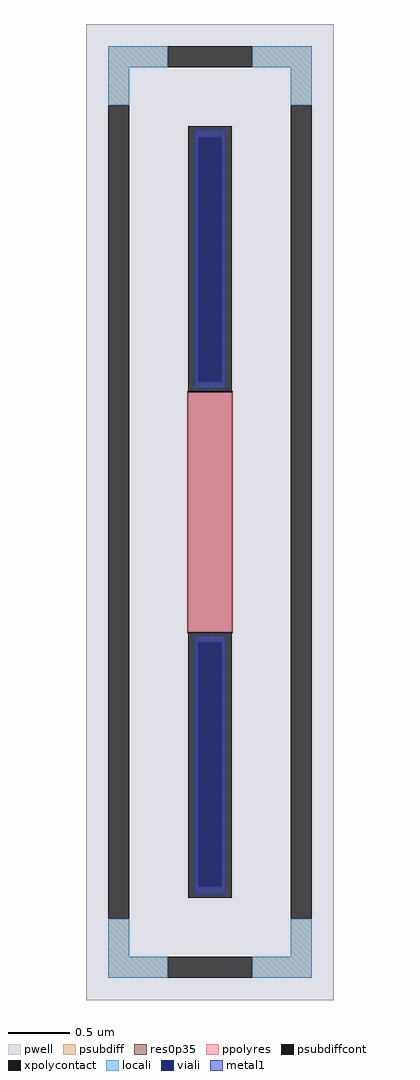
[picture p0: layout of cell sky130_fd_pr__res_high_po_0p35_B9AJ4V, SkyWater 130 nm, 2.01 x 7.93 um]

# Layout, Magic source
magic
tech sky130A
magscale 1 2
<< pwell >>
rect -201 -793 201 793
<< psubdiff >>
rect -165 723 -69 757
rect 69 723 165 757
rect -165 661 -131 723
rect 131 661 165 723
rect -165 -723 -131 -661
rect 131 -723 165 -661
rect -165 -757 -69 -723
rect 69 -757 165 -723
<< psubdiffcont >>
rect -69 723 69 757
rect -165 -661 -131 661
rect 131 -661 165 661
rect -69 -757 69 -723
<< xpolycontact >>
rect -35 195 35 627
rect -35 -627 35 -195
<< ppolyres >>
rect -35 -195 35 195
<< locali >>
rect -165 723 -69 757
rect 69 723 165 757
rect -165 661 -131 723
rect 131 661 165 723
rect -165 -723 -131 -661
rect 131 -723 165 -661
rect -165 -757 -69 -723
rect 69 -757 165 -723
<< viali >>
rect -19 212 19 609
rect -19 -609 19 -212
<< metal1 >>
rect -25 609 25 621
rect -25 212 -19 609
rect 19 212 25 609
rect -25 200 25 212
rect -25 -212 25 -200
rect -25 -609 -19 -212
rect 19 -609 25 -212
rect -25 -621 25 -609
<< res0p35 >>
rect -37 -197 37 197
<< properties >>
string FIXED_BBOX -148 -740 148 740
string gencell sky130_fd_pr__res_high_po_0p35
string library sky130
string parameters w 0.350 l 1.95 m 1 nx 1 wmin 0.350 lmin 0.50 rho 319.8 val 2.895k dummy 0 dw 0.0 term 194.82 sterm 0.0 caplen 0 guard 1 glc 1 grc 1 gtc 1 gbc 1 compatible {sky130_fd_pr__res_high_po_0p35  sky130_fd_pr__res_high_po_0p69 sky130_fd_pr__res_high_po_1p41  sky130_fd_pr__res_high_po_2p85 sky130_fd_pr__res_high_po_5p73} full_metal 1 wmax 0.350 vias 1 n_guard 0 hv_guard 0 viagb 0 viagt 0 viagl 0 viagr 0
<< end >>
